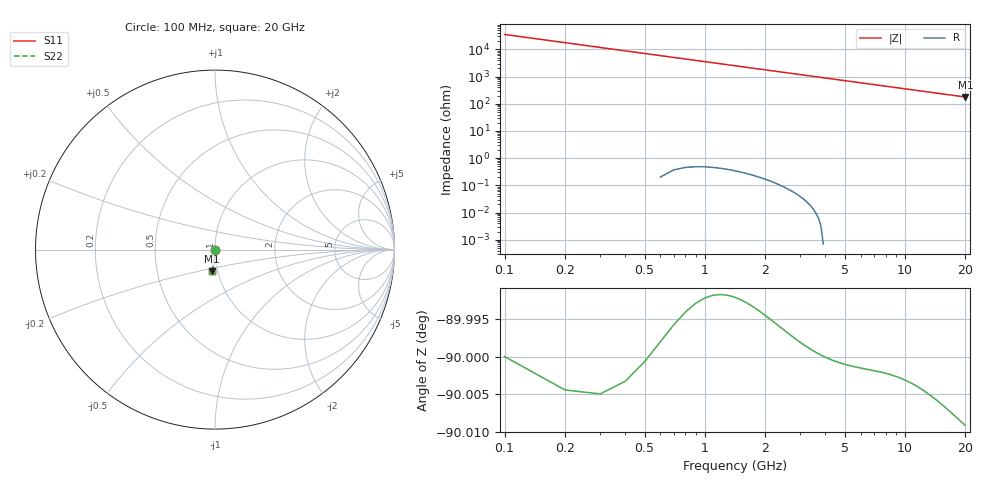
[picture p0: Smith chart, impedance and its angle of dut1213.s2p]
! Touchstone file exported from HFSS 2026.1.0
!  File:  C:/ffzhzh/LocalFiles/Ansys_Project_Files/temp_train_TSV_1213_1783192891_51560.aedt
!  Generated:  03:22:54 AM Jul  5, 2026
!  Design:  TSV
!  Project:  temp_train_TSV_1213_1783192891_51560
! Variables:
!  h_bsmrdl = 2um
!  h_ox = 20um
!  h_rdl = 5um
!  h_sub = 60.93um
!  h_tmrdl = 5um
!  h_tsv = 60.93um
!  h_via = 3um
!  l_bsmrdl = 300um
!  l_sub = 420.44um
!  l_tmrdl = 200um
!  m_sub = 200um
!  pitch = 22.55um
!  r_tsv = 10.22um
!  s_tmrdl = 10um
!  w_bsmrdl = 18um
!  w_sub = 500um
!  w_tmrdl = 12um
!  x_tsv_center1 = 206um
!  x_tsv_center2 = 524um
!  x_tsv_center3 = 736um
!  x_tsv_center4 = 1054um
!  x_tsv_center5 = 1266um
!  x_tsv_center6 = 1584um
# GHz S MA R 50.000000
! Terminal data exported
! Port[1] = TSV1_1_T1
! Port[2] = TSV1_1_T2
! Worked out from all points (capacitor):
!   200 points, 100 MHz to 20 GHz, reference 50 ohm
!   read as one part in shunt: C = 44.9 fF near 200 MHz
!   lowest |Z| = 178 ohm at 20 GHz (marker M1)
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0.1  0.0005657 -77.7  0.9999 -0.0  0.9999 -0.0  0.0005657 -77.7
! Gamma 0 0 0 0
! Port Impedance 50 0 50 0
0.2  0.001122 -82.7  0.9999 -0.1  0.9999 -0.1  0.001122 -82.7
0.3  0.001692 -84.2  0.9998 -0.1  0.9998 -0.1  0.001692 -84.2
0.4  0.002276 -84.8  0.9998 -0.2  0.9998 -0.2  0.002276 -84.8
0.5  0.002869 -85.3  0.9997 -0.2  0.9997 -0.2  0.002869 -85.3
0.7  0.004075 -86.0  0.9997 -0.3  0.9997 -0.3  0.004075 -86.0
0.8  0.004683 -86.3  0.9997 -0.4  0.9997 -0.4  0.004683 -86.3
1  0.005903 -86.9  0.9996 -0.5  0.9996 -0.5  0.005903 -86.9
1.2  0.007125 -87.3  0.9996 -0.6  0.9996 -0.6  0.007125 -87.3
1.4  0.008347 -87.7  0.9995 -0.7  0.9995 -0.7  0.008347 -87.7
1.7  0.01018 -88.2  0.9995 -0.8  0.9995 -0.8  0.01018 -88.2
2  0.01201 -88.6  0.9994 -0.9  0.9994 -0.9  0.01201 -88.6
2.7  0.01628 -89.3  0.9993 -1.2  0.9993 -1.2  0.01628 -89.3
3.5  0.02118 -89.9  0.9991 -1.6  0.9991 -1.6  0.02118 -89.9
4.2  0.02546 -90.3  0.999 -1.9  0.999 -1.9  0.02546 -90.3
5  0.03037 -90.8  0.9988 -2.3  0.9988 -2.3  0.03037 -90.8
6.8  0.04144 -91.8  0.9982 -3.1  0.9982 -3.1  0.04144 -91.8
8.3  0.05067 -92.6  0.9977 -3.8  0.9977 -3.8  0.05067 -92.6
10.1  0.06173 -93.5  0.9969 -4.6  0.9969 -4.6  0.06173 -93.5
13.4  0.08196 -95.2  0.9953 -6.1  0.9953 -6.1  0.08196 -95.2
16.7  0.1021 -96.7  0.9933 -7.6  0.9933 -7.6  0.1021 -96.7
20  0.1221 -98.3  0.9908 -9.1  0.9908 -9.1  0.1221 -98.3
